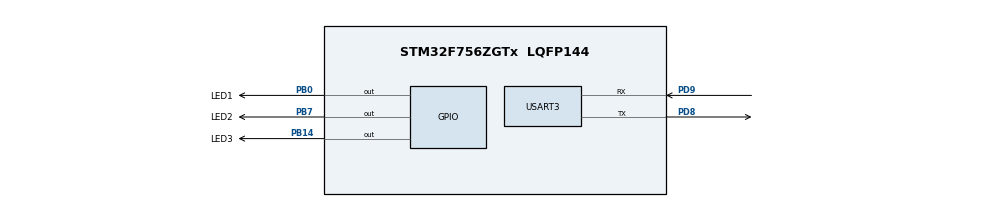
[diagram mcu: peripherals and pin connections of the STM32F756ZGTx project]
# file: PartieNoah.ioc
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CORTEX_M7.default_mode_Activation=1
Mcu.Family=STM32F7
Mcu.Name=STM32F756ZGTx
Mcu.Package=LQFP144
NVIC.PriorityGroup=NVIC_PRIORITYGROUP_4
NVIC.TIM1_UP_TIM10_IRQn=true\:0\:0\:false\:false\:true\:true\:true\:true
NVIC.TIM3_IRQn=true\:0\:0\:false\:false\:true\:true\:true\:true
NVIC.TIM4_IRQn=true\:0\:0\:false\:false\:true\:true\:true\:true
NVIC.USART3_IRQn=true\:0\:0\:false\:false\:true\:true\:true\:true
PB0.GPIO_Label=LED1
PB0.Signal=GPIO_Output
PB14.GPIO_Label=LED3
PB14.Signal=GPIO_Output
PB7.GPIO_Label=LED2
PB7.Signal=GPIO_Output
PD8.Mode=Asynchronous
PD8.Signal=USART3_TX
PD9.Mode=Asynchronous
PD9.Signal=USART3_RX
ProjectManager.HeapSize=0x200
ProjectManager.StackSize=0x400
ProjectManager.TargetToolchain=STM32CubeIDE
RCC.HSE_VALUE=25000000
RCC.HSI_VALUE=16000000
RCC.LSE_VALUE=32768
RCC.USBFreq_Value=96000000
RCC.VCOOutputFreq_Value=192000000
TIM1.Prescaler=127
TIM3.Prescaler=255
TIM4.Prescaler=735
USART3.VirtualMode-Asynchronous=VM_ASYNC
VP_TIM1_VS_ClockSourceINT.Mode=Internal
VP_TIM3_VS_ClockSourceINT.Mode=Internal
VP_TIM4_VS_ClockSourceINT.Mode=Internal
board=custom

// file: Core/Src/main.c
/* USER CODE BEGIN Header */
/**
  ******************************************************************************
  * @file           : main.c
  * @brief          : Main program body
  ******************************************************************************
  * @attention
  *
  * Copyright (c) 2025 STMicroelectronics.
  * All rights reserved.
  *
  * This software is licensed under terms that can be found in the LICENSE file
  * in the root directory of this software component.
  * If no LICENSE file comes with this software, it is provided AS-IS.
  *
  ******************************************************************************
  */
/* USER CODE END Header */
#include "main.h"
#include "tim.h"
#include "usart.h"
#include "gpio.h"

/* USER CODE BEGIN Includes */
#include "stdio.h"
#include "string.h"
#include "stdbool.h"
/* USER CODE END Includes */

/* USER CODE BEGIN PD */
#ifdef __GNUC__
#define PUTCHAR_PROTOTYPE int __io_putchar(int ch)
#else
#define PUTCHAR_PROTOTYPE int fputc(int ch, FILE *f)
#endif /* __GNUC__ */
/* USER CODE END PD */

/* USER CODE BEGIN PM */
PUTCHAR_PROTOTYPE
{
    HAL_UART_Transmit(&huart3, (uint8_t *)&ch, 1, 0xFFFF);
    return ch;
}
/* USER CODE END PM */

/* USER CODE BEGIN PV */
bool chenillard_actif = false;
uint8_t current_pattern = 1;
uint8_t current_frequency = 1; // 1 = TIM1, 2 = TIM2, 3 = TIM3

const uint16_t leds[3] = {GPIO_PIN_0, GPIO_PIN_7, GPIO_PIN_14};

char rx_buffer[256];
char *ptr = rx_buffer;
uint8_t ch;
/* USER CODE END PV */

void SystemClock_Config(void);
static void MPU_Config(void);

int main(void)
{

  /* MPU Configuration--------------------------------------------------------*/
  MPU_Config();

  /* MCU Configuration--------------------------------------------------------*/

  /* Reset of all peripherals, Initializes the Flash interface and the Systick. */
  HAL_Init();

  /* Configure the system clock */
  SystemClock_Config();

  /* Initialize all configured peripherals */
  MX_GPIO_Init();
  MX_USART3_UART_Init();
  MX_TIM1_Init();
  MX_TIM3_Init();
  MX_TIM4_Init();
  /* USER CODE BEGIN 2 */
  HAL_UART_Receive_IT(&huart3, &ch, 1);
  /* USER CODE END 2 */

  /* Infinite loop */
  while (1)
  {

  }
}

void SystemClock_Config(void)
{
  RCC_OscInitTypeDef RCC_OscInitStruct = {0};
  RCC_ClkInitTypeDef RCC_ClkInitStruct = {0};

  /** Configure the main internal regulator output voltage
  */
  __HAL_RCC_PWR_CLK_ENABLE();
  __HAL_PWR_VOLTAGESCALING_CONFIG(PWR_REGULATOR_VOLTAGE_SCALE3);

  /** Initializes the RCC Oscillators according to the specified parameters
  * in the RCC_OscInitTypeDef structure.
  */
  RCC_OscInitStruct.OscillatorType = RCC_OSCILLATORTYPE_HSI;
  RCC_OscInitStruct.HSIState = RCC_HSI_ON;
  RCC_OscInitStruct.HSICalibrationValue = RCC_HSICALIBRATION_DEFAULT;
  RCC_OscInitStruct.PLL.PLLState = RCC_PLL_NONE;
  if (HAL_RCC_OscConfig(&RCC_OscInitStruct) != HAL_OK)
  {
    Error_Handler();
  }

  /** Initializes the CPU, AHB and APB buses clocks
  */
  RCC_ClkInitStruct.ClockType = RCC_CLOCKTYPE_HCLK|RCC_CLOCKTYPE_SYSCLK
                              |RCC_CLOCKTYPE_PCLK1|RCC_CLOCKTYPE_PCLK2;
  RCC_ClkInitStruct.SYSCLKSource = RCC_SYSCLKSOURCE_HSI;
  RCC_ClkInitStruct.AHBCLKDivider = RCC_SYSCLK_DIV1;
  RCC_ClkInitStruct.APB1CLKDivider = RCC_HCLK_DIV1;
  RCC_ClkInitStruct.APB2CLKDivider = RCC_HCLK_DIV1;

  if (HAL_RCC_ClockConfig(&RCC_ClkInitStruct, FLASH_LATENCY_0) != HAL_OK)
  {
    Error_Handler();
  }
}

/* USER CODE BEGIN 4 */

void HAL_TIM_PeriodElapsedCallback(TIM_HandleTypeDef *htim){
        if (!chenillard_actif) return;
        switch (current_pattern){
        	case 1:
        		chenillard_classique();
        		break;
        	case 2:
        		chenillard_int_ext();
        		break;
        	case 3:
        		chenillard_on_off();
        		break;
        }
}

void chenillard_classique(){
	static int i = 0;
	static int direction = 1;

	reset_led();
	HAL_GPIO_WritePin(GPIOB, leds[i], GPIO_PIN_SET);
	if (direction) {
		i++;
		if (i >= 2) {
			direction = false;
		}
	} else {
	    i--;
	    if (i <= 0) {
	    	direction = true;
	    }
	}
}

void chenillard_int_ext(){
	static uint8_t state = 1;
	reset_led();
	if (state){
		HAL_GPIO_WritePin(GPIOB, GPIO_PIN_7, GPIO_PIN_SET);
	} else {
        HAL_GPIO_WritePin(GPIOB, GPIO_PIN_0, GPIO_PIN_SET);
        HAL_GPIO_WritePin(GPIOB, GPIO_PIN_14, GPIO_PIN_SET);
    }
	state = !state;
}

void chenillard_on_off(){
	for (uint8_t i = 0; i < 3; i++){
		HAL_GPIO_TogglePin(GPIOB, leds[i]);
	}
}

void set_chenillard_frequency(uint8_t freq) {
    HAL_TIM_Base_Stop_IT(&htim1);
    HAL_TIM_Base_Stop_IT(&htim3);
    HAL_TIM_Base_Stop_IT(&htim4);

    current_frequency = freq;

    switch(freq) {
        case 1:
        	HAL_TIM_Base_Start_IT(&htim1);
        	break;
        case 2:
        	HAL_TIM_Base_Start_IT(&htim3);
        	break;
        case 3:
        	HAL_TIM_Base_Start_IT(&htim4);
        	break;
    }
}

void reset_led(){
	for (uint8_t i = 0; i < 3; i++){
		HAL_GPIO_WritePin(GPIOB, leds[i], GPIO_PIN_RESET);
	}
}

void led_on_off(){
	char last = rx_buffer[strlen(rx_buffer)-1];
	if (last == 'F') { //LED OFF
		HAL_GPIO_WritePin(GPIOB, leds[(int)(rx_buffer[3] - '0')-1], GPIO_PIN_RESET);
	} else if (last == 'N'){//LED ON
		HAL_GPIO_WritePin(GPIOB, leds[(int)(rx_buffer[3] - '0')-1], GPIO_PIN_SET);
	}
}

void manage_chenillard(){
	char last = rx_buffer[strlen(rx_buffer) - 1];
	if ( last == 'N'){
		reset_led();
		current_pattern = rx_buffer[10] - '0';
		chenillard_actif = true;
		set_chenillard_frequency(current_frequency);
	} else if(last == 'F'){
		if(rx_buffer[10] - '0' == current_pattern){
			chenillard_actif = false;
			reset_led();
		}
	}
}

void HAL_UART_RxCpltCallback(UART_HandleTypeDef *huart){
	 if (huart->Instance == USART3) {
		 if (ch == '\r' || ch == '\n') {
			 *ptr = '\0';

			 if (rx_buffer[0] == 'L'){ //Controle des LED
				 if (chenillard_actif){
					 printf("LED Control OFF, disable chenillard first\r\n");
				 }
				 led_on_off();
			 } else if (strncmp(rx_buffer, "CHENILLARD FREQUENCE", 20) == 0){ //Frequence
				 set_chenillard_frequency((uint8_t)(rx_buffer[strlen(rx_buffer)-1] - '0'));
			 } else if (strncmp(rx_buffer, "CHENILLARD", 10) == 0) { //Chenillard
				 manage_chenillard();
			 }
			 memset(rx_buffer, 0, strlen(rx_buffer));
			 ptr = rx_buffer;
		 } else {
	         *ptr = ch;
	         ptr++;
		 }
	     HAL_UART_Receive_IT(&huart3, (uint8_t *)&ch, 1);
	 }
}
/* USER CODE END 4 */

 /* MPU Configuration */

void MPU_Config(void)
{
  MPU_Region_InitTypeDef MPU_InitStruct = {0};

  /* Disables the MPU */
  HAL_MPU_Disable();

  /** Initializes and configures the Region and the memory to be protected
  */
  MPU_InitStruct.Enable = MPU_REGION_ENABLE;
  MPU_InitStruct.Number = MPU_REGION_NUMBER0;
  MPU_InitStruct.BaseAddress = 0x0;
  MPU_InitStruct.Size = MPU_REGION_SIZE_4GB;
  MPU_InitStruct.SubRegionDisable = 0x87;
  MPU_InitStruct.TypeExtField = MPU_TEX_LEVEL0;
  MPU_InitStruct.AccessPermission = MPU_REGION_NO_ACCESS;
  MPU_InitStruct.DisableExec = MPU_INSTRUCTION_ACCESS_DISABLE;
  MPU_InitStruct.IsShareable = MPU_ACCESS_SHAREABLE;
  MPU_InitStruct.IsCacheable = MPU_ACCESS_NOT_CACHEABLE;
  MPU_InitStruct.IsBufferable = MPU_ACCESS_NOT_BUFFERABLE;

  HAL_MPU_ConfigRegion(&MPU_InitStruct);
  /* Enables the MPU */
  HAL_MPU_Enable(MPU_PRIVILEGED_DEFAULT);

}

void Error_Handler(void)
{
  __disable_irq();
  while (1)
  {
  }
}
